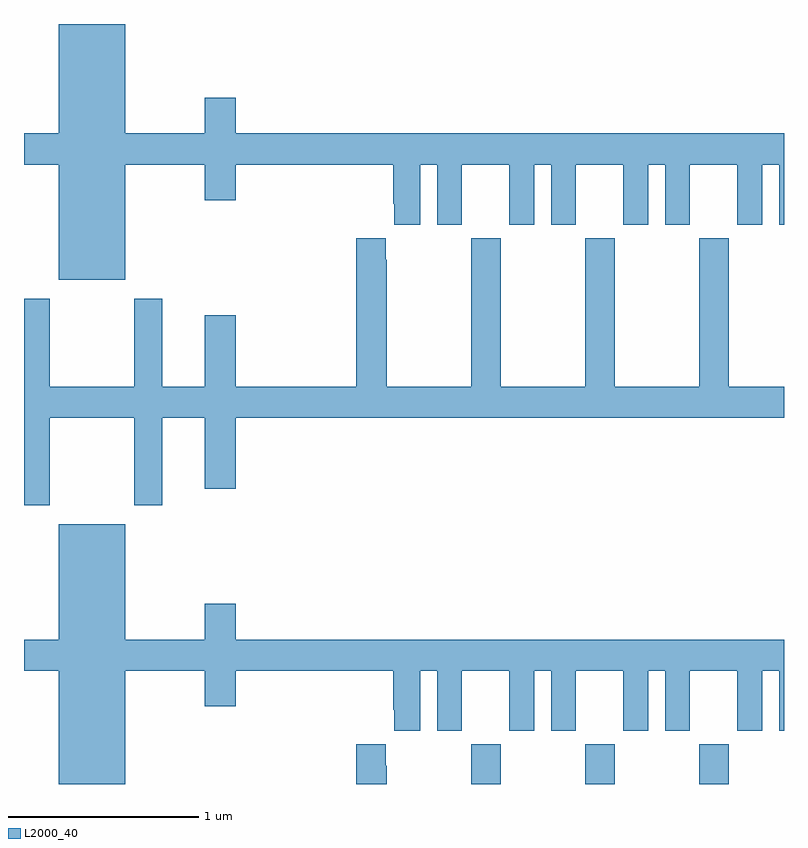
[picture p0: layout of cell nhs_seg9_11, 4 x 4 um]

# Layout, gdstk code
import gdstk
lib = gdstk.Library(unit=1e-6, precision=1e-09)
def R(c, l, rs):  # rectangles x0, y0, x1, y1
    for r in rs: c.add(gdstk.rectangle(r[:2], r[2:], *l))
def A(c, l, x, y, w, h, nx, ny, dx, dy):  # array of equal rectangles
    R(c, l, [(x+i*dx, y+j*dy, x+i*dx+w, y+j*dy+h) for i in range(nx) for j in range(ny)])
def P(c, l, *ps):  # polygons
    for p in ps: c.add(gdstk.Polygon(p, *l))
L2000_40 = (2000, 40)

nhs_seg9_11 = lib.new_cell('nhs_seg9_11')
A(nhs_seg9_11, L2000_40, 113.353, 1186.5, 0.155, 0.208, 3, 1, 0.6, 0)
P(nhs_seg9_11, L2000_40, [(111.532,1189.76),(111.95,1189.76),(111.95,1189.572),(112.114,1189.572),(112.114,1189.76),(112.943,1189.76),(112.943,1189.555),(112.949,1189.555),(112.949,1189.443),(113.086,1189.443),(113.086,1189.76),(113.174,1189.76),(113.174,1189.443),(113.305,1189.443),(113.305,1189.76),(113.555,1189.76),(113.555,1189.443),(113.686,1189.443),(113.686,1189.76),(113.774,1189.76),(113.774,1189.443),(113.905,1189.443),(113.905,1189.76),(114.155,1189.76),(114.155,1189.443),(114.286,1189.443),(114.286,1189.76),(114.374,1189.76),(114.374,1189.443),(114.505,1189.443),(114.505,1189.76),(114.755,1189.76),(114.755,1189.443),(114.886,1189.443),(114.886,1189.76),(114.974,1189.76),(114.974,1189.443),(115,1189.443),(115,1189.924),(112.114,1189.924),(112.114,1190.113),(111.95,1190.113),(111.95,1189.924),(111.532,1189.924),(111.532,1190.5),(111.182,1190.5),(111.182,1189.924),(111,1189.924),(111,1189.76),(111.182,1189.76),(111.182,1189.154),(111.532,1189.154)],
  [(111.135,1188.428),(111.58,1188.428),(111.58,1187.967),(111.727,1187.967),(111.727,1188.428),(111.95,1188.428),(111.95,1188.054),(112.114,1188.054),(112.114,1188.428),(115,1188.428),(115,1188.592),(114.708,1188.592),(114.708,1189.372),(114.553,1189.372),(114.553,1188.592),(114.108,1188.592),(114.108,1189.372),(113.953,1189.372),(113.953,1188.592),(113.508,1188.592),(113.508,1189.372),(113.353,1189.372),(113.353,1188.592),(112.908,1188.592),(112.908,1189.259),(112.903,1189.259),(112.903,1189.372),(112.748,1189.372),(112.748,1188.592),(112.114,1188.592),(112.114,1188.967),(111.95,1188.967),(111.95,1188.592),(111.727,1188.592),(111.727,1189.054),(111.58,1189.054),(111.58,1188.592),(111.135,1188.592),(111.135,1189.054),(111,1189.054),(111,1187.967),(111.135,1187.967)],
  [(111.532,1187.096),(111.95,1187.096),(111.95,1186.908),(112.114,1186.908),(112.114,1187.096),(112.943,1187.096),(112.943,1186.891),(112.949,1186.891),(112.949,1186.779),(113.086,1186.779),(113.086,1187.096),(113.174,1187.096),(113.174,1186.779),(113.305,1186.779),(113.305,1187.096),(113.555,1187.096),(113.555,1186.779),(113.686,1186.779),(113.686,1187.096),(113.774,1187.096),(113.774,1186.779),(113.905,1186.779),(113.905,1187.096),(114.155,1187.096),(114.155,1186.779),(114.286,1186.779),(114.286,1187.096),(114.374,1187.096),(114.374,1186.779),(114.505,1186.779),(114.505,1187.096),(114.755,1187.096),(114.755,1186.779),(114.886,1186.779),(114.886,1187.096),(114.974,1187.096),(114.974,1186.779),(115,1186.779),(115,1187.26),(112.114,1187.26),(112.114,1187.449),(111.95,1187.449),(111.95,1187.26),(111.532,1187.26),(111.532,1187.866),(111.182,1187.866),(111.182,1187.26),(111,1187.26),(111,1187.096),(111.182,1187.096),(111.182,1186.5),(111.532,1186.5)],
  [(112.908,1186.595),(112.903,1186.595),(112.903,1186.708),(112.748,1186.708),(112.748,1186.5),(112.908,1186.5)])

lib.write_gds('nhs_seg9_11.gds')
